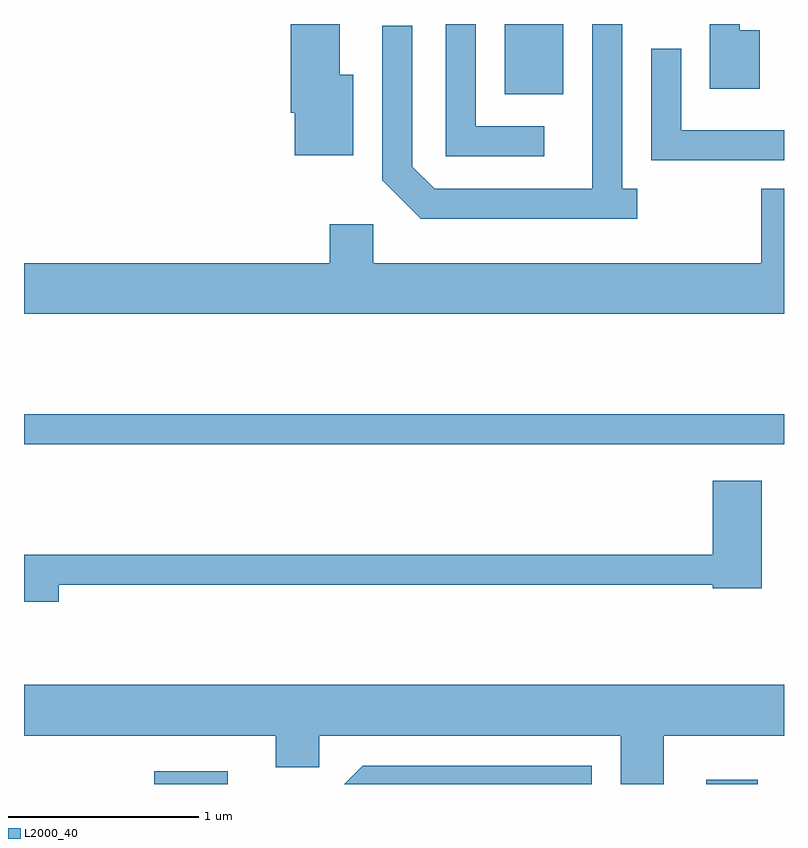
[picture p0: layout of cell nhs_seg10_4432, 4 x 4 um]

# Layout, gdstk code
import gdstk
lib = gdstk.Library(unit=1e-6, precision=1e-09)
def R(c, l, rs):  # rectangles x0, y0, x1, y1
    for r in rs: c.add(gdstk.rectangle(r[:2], r[2:], *l))
def P(c, l, *ps):  # polygons
    for p in ps: c.add(gdstk.Polygon(p, *l))
L2000_40 = (2000, 40)

nhs_seg10_4432 = lib.new_cell('nhs_seg10_4432')
R(nhs_seg10_4432, L2000_40, [(316.296,2142.522,316.683,2142.589), (319.203,2142.522,319.474,2142.544), (315.611,2144.311,319.611,2144.469), (318.141,2146.151,318.449,2146.522)])
P(nhs_seg10_4432, L2000_40, [(318.838,2145.654),(318.759,2145.654),(318.759,2146.522),(318.601,2146.522),(318.601,2145.654),(317.772,2145.654),(317.654,2145.772),(317.654,2146.513),(317.496,2146.513),(317.496,2145.699),(317.699,2145.496),(318.838,2145.496)],
  [(317.344,2146.254),(317.274,2146.254),(317.274,2146.522),(317.016,2146.522),(317.016,2146.056),(317.036,2146.056),(317.036,2145.831),(317.344,2145.831)],
  [(318.348,2145.984),(317.989,2145.984),(317.989,2146.522),(317.831,2146.522),(317.831,2145.826),(318.348,2145.826)],
  [(319.484,2146.489),(319.379,2146.489),(319.379,2146.522),(319.221,2146.522),(319.221,2146.181),(319.484,2146.181)],
  [(319.611,2145.964),(319.069,2145.964),(319.069,2146.393),(318.911,2146.393),(318.911,2145.806),(319.611,2145.806)],
  [(319.611,2145.654),(319.491,2145.654),(319.491,2145.264),(317.449,2145.264),(317.449,2145.469),(317.221,2145.469),(317.221,2145.264),(315.611,2145.264),(315.611,2144.996),(319.611,2144.996)],
  [(315.794,2143.571),(319.236,2143.571),(319.236,2143.551),(319.494,2143.551),(319.494,2144.119),(319.236,2144.119),(319.236,2143.729),(315.611,2143.729),(315.611,2143.481),(315.794,2143.481)],
  [(318.979,2142.776),(319.611,2142.776),(319.611,2143.044),(315.611,2143.044),(315.611,2142.776),(316.936,2142.776),(316.936,2142.611),(317.164,2142.611),(317.164,2142.776),(318.751,2142.776),(318.751,2142.522),(318.979,2142.522)],
  [(318.599,2142.619),(317.394,2142.619),(317.297,2142.522),(318.599,2142.522)])

lib.write_gds('nhs_seg10_4432.gds')
